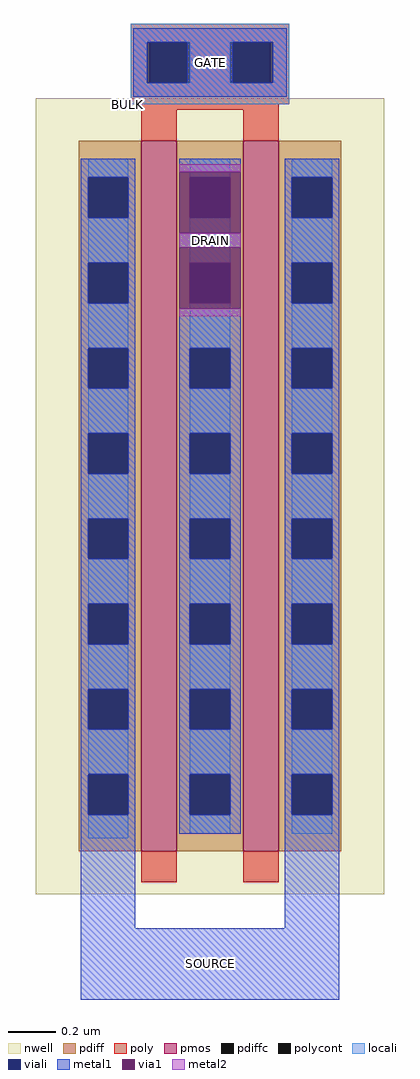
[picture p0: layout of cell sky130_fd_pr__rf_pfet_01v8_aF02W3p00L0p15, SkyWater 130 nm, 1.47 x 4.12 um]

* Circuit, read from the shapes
.subckt sky130_fd_pr__rf_pfet_01v8_aF02W3p00L0p15 BULK DRAIN GATE SOURCE
XM1 DRAIN GATE SOURCE BULK sky130_fd_pr__pfet_01v8 w=3 l=0.15 m=2
.ends

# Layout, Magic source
magic
tech sky130A
magscale 1 2
<< nwell >>
rect 0 0 294 672
<< pmos >>
rect 89 36 119 636
rect 175 36 205 636
<< pdiff >>
rect 36 605 89 636
rect 36 571 44 605
rect 78 571 89 605
rect 36 533 89 571
rect 36 499 44 533
rect 78 499 89 533
rect 36 461 89 499
rect 36 427 44 461
rect 78 427 89 461
rect 36 389 89 427
rect 36 355 44 389
rect 78 355 89 389
rect 36 317 89 355
rect 36 283 44 317
rect 78 283 89 317
rect 36 245 89 283
rect 36 211 44 245
rect 78 211 89 245
rect 36 173 89 211
rect 36 139 44 173
rect 78 139 89 173
rect 36 101 89 139
rect 36 67 44 101
rect 78 67 89 101
rect 36 36 89 67
rect 119 605 175 636
rect 119 571 130 605
rect 164 571 175 605
rect 119 533 175 571
rect 119 499 130 533
rect 164 499 175 533
rect 119 461 175 499
rect 119 427 130 461
rect 164 427 175 461
rect 119 389 175 427
rect 119 355 130 389
rect 164 355 175 389
rect 119 317 175 355
rect 119 283 130 317
rect 164 283 175 317
rect 119 245 175 283
rect 119 211 130 245
rect 164 211 175 245
rect 119 173 175 211
rect 119 139 130 173
rect 164 139 175 173
rect 119 101 175 139
rect 119 67 130 101
rect 164 67 175 101
rect 119 36 175 67
rect 205 605 258 636
rect 205 571 216 605
rect 250 571 258 605
rect 205 533 258 571
rect 205 499 216 533
rect 250 499 258 533
rect 205 461 258 499
rect 205 427 216 461
rect 250 427 258 461
rect 205 389 258 427
rect 205 355 216 389
rect 250 355 258 389
rect 205 317 258 355
rect 205 283 216 317
rect 250 283 258 317
rect 205 245 258 283
rect 205 211 216 245
rect 250 211 258 245
rect 205 173 258 211
rect 205 139 216 173
rect 250 139 258 173
rect 205 101 258 139
rect 205 67 216 101
rect 250 67 258 101
rect 205 36 258 67
<< pdiffc >>
rect 44 571 78 605
rect 44 499 78 533
rect 44 427 78 461
rect 44 355 78 389
rect 44 283 78 317
rect 44 211 78 245
rect 44 139 78 173
rect 44 67 78 101
rect 130 571 164 605
rect 130 499 164 533
rect 130 427 164 461
rect 130 355 164 389
rect 130 283 164 317
rect 130 211 164 245
rect 130 139 164 173
rect 130 67 164 101
rect 216 571 250 605
rect 216 499 250 533
rect 216 427 250 461
rect 216 355 250 389
rect 216 283 250 317
rect 216 211 250 245
rect 216 139 250 173
rect 216 67 250 101
<< poly >>
rect 80 719 214 735
rect 80 685 96 719
rect 130 685 164 719
rect 198 685 214 719
rect 80 667 214 685
rect 89 662 205 667
rect 89 636 119 662
rect 175 636 205 662
rect 89 10 119 36
rect 175 10 205 36
<< polycont >>
rect 96 685 130 719
rect 164 685 198 719
<< locali >>
rect 80 719 214 735
rect 80 685 94 719
rect 130 685 164 719
rect 200 685 214 719
rect 80 667 214 685
rect 44 605 78 621
rect 44 533 78 571
rect 44 461 78 499
rect 44 389 78 427
rect 44 317 78 355
rect 44 245 78 283
rect 44 173 78 211
rect 44 101 78 139
rect 44 47 78 67
rect 130 605 164 621
rect 130 533 164 571
rect 130 461 164 499
rect 130 389 164 427
rect 130 317 164 355
rect 130 245 164 283
rect 130 173 164 211
rect 130 101 164 139
rect 130 51 164 67
rect 216 605 250 621
rect 216 533 250 571
rect 216 461 250 499
rect 216 389 250 427
rect 216 317 250 355
rect 216 245 250 283
rect 216 173 250 211
rect 216 101 250 139
rect 216 51 250 67
<< viali >>
rect 94 685 96 719
rect 96 685 128 719
rect 166 685 198 719
rect 198 685 200 719
rect 44 571 78 605
rect 44 499 78 533
rect 44 427 78 461
rect 44 355 78 389
rect 44 283 78 317
rect 44 211 78 245
rect 44 139 78 173
rect 44 67 78 101
rect 130 571 164 605
rect 130 499 164 533
rect 130 427 164 461
rect 130 355 164 389
rect 130 283 164 317
rect 130 211 164 245
rect 130 139 164 173
rect 130 67 164 101
rect 216 571 250 605
rect 216 499 250 533
rect 216 427 250 461
rect 216 355 250 389
rect 216 283 250 317
rect 216 211 250 245
rect 216 139 250 173
rect 216 67 250 101
<< metal1 >>
rect 82 719 212 731
rect 82 685 94 719
rect 128 685 166 719
rect 200 685 212 719
rect 82 673 212 685
rect 38 605 84 621
rect 38 571 44 605
rect 78 571 84 605
rect 38 533 84 571
rect 38 499 44 533
rect 78 499 84 533
rect 38 461 84 499
rect 38 427 44 461
rect 78 427 84 461
rect 38 389 84 427
rect 38 355 44 389
rect 78 355 84 389
rect 38 317 84 355
rect 38 283 44 317
rect 78 283 84 317
rect 38 245 84 283
rect 38 211 44 245
rect 78 211 84 245
rect 38 173 84 211
rect 38 139 44 173
rect 78 139 84 173
rect 38 101 84 139
rect 38 67 44 101
rect 78 67 84 101
rect 38 -29 84 67
rect 121 610 173 621
rect 121 546 173 558
rect 121 461 173 494
rect 121 427 130 461
rect 164 427 173 461
rect 121 389 173 427
rect 121 355 130 389
rect 164 355 173 389
rect 121 317 173 355
rect 121 283 130 317
rect 164 283 173 317
rect 121 245 173 283
rect 121 211 130 245
rect 164 211 173 245
rect 121 173 173 211
rect 121 139 130 173
rect 164 139 173 173
rect 121 101 173 139
rect 121 67 130 101
rect 164 67 173 101
rect 121 51 173 67
rect 210 605 256 621
rect 210 571 216 605
rect 250 571 256 605
rect 210 533 256 571
rect 210 499 216 533
rect 250 499 256 533
rect 210 461 256 499
rect 210 427 216 461
rect 250 427 256 461
rect 210 389 256 427
rect 210 355 216 389
rect 250 355 256 389
rect 210 317 256 355
rect 210 283 216 317
rect 250 283 256 317
rect 210 245 256 283
rect 210 211 216 245
rect 250 211 256 245
rect 210 173 256 211
rect 210 139 216 173
rect 250 139 256 173
rect 210 101 256 139
rect 210 67 216 101
rect 250 67 256 101
rect 210 -29 256 67
rect 38 -89 256 -29
<< via1 >>
rect 121 605 173 610
rect 121 571 130 605
rect 130 571 164 605
rect 164 571 173 605
rect 121 558 173 571
rect 121 533 173 546
rect 121 499 130 533
rect 130 499 164 533
rect 164 499 173 533
rect 121 494 173 499
<< metal2 >>
rect 121 610 173 616
rect 121 546 173 558
rect 121 488 173 494
<< labels >>
flabel metal2 s 121 488 173 616 0 FreeSans 400 0 0 0 DRAIN
port 2 nsew
flabel metal1 s 38 -89 256 -29 0 FreeSans 400 0 0 0 SOURCE
port 4 nsew
flabel metal1 s 82 673 212 731 0 FreeSans 400 0 0 0 GATE
port 3 nsew
flabel nwell s 75 663 79 670 0 FreeSans 400 0 0 0 BULK
port 1 nsew
<< properties >>
string GDS_FILE $PDKPATH/libs.ref/sky130_fd_pr/gds/sky130_fd_pr.gds
string GDS_END 9176582
string GDS_START 9170258
string path 0.950 -1.475 6.400 -1.475 
<< end >>
